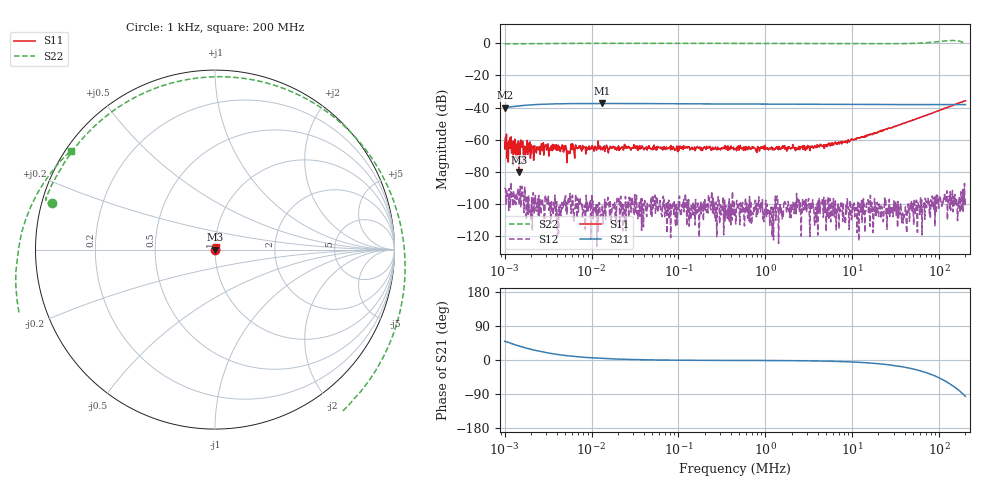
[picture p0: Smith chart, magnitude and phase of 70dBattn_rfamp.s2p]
! ListType=Log
# MHZ S RI R 50
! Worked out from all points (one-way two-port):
!   1000 points, 1 kHz to 200 MHz, reference 50 ohm
!   highest |S21| = -37.45 dB at 13.17 kHz (marker M1); lowest = -40.2 dB at 1.012 kHz (marker M2)
!   lowest |S11| = -80.2 dB at 1.46 kHz (marker M3), VSWR 1.00, Z = 50 - j0.0007 ohm
!   |S11| at or under -10 dB: start of sweep to end of sweep
!   |S22| runs from -0.5 to 1.7 dB; largest |S21 - S12| = 0.013
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0.001  -0.000821 -0.000106  0.00641 0.00746  -1.15e-05 -2.99e-05  -0.9089 0.26
0.0010123  -0.000228 -0.000457  0.00649 0.00738  1.21e-05 -2.87e-05  -0.9095 0.2603
0.0014605  -9.75e-05 -7e-06  0.00893 0.00682  9e-07 -1.8e-05  -0.9181 0.2574
0.0029666  -0.00071 -7.72e-05  0.012 0.00429  1.31e-05 -6.5e-06  -0.934 0.2623
0.0048363  -0.000639 -9.83e-05  0.0129 0.00281  3e-07 -9.4e-06  -0.9399 0.2698
0.0053985  -0.000401 -2e-07  0.013 0.00251  -1.31e-05 -7.3e-06  -0.9408 0.2713
0.0076941  -0.000443 -2.19e-05  0.0132 0.00176  -2.1e-06 8.4e-06  -0.9422 0.2759
0.0131716  -0.000509 4.12e-05  0.0134 0.000986  -4.5e-06 1e-06  -0.9427 0.2807
0.0584804  -0.000579 2.02e-05  0.0132 4.4e-06  1.1e-06 -7.5e-06  -0.9406 0.2882
0.4499541  -0.0005 6.49e-05  0.0128 -0.000269  1.8e-06 7.1e-06  -0.9349 0.303
3.419952  -0.000476 0.000338  0.0126 -0.000498  -1.8e-06 -7.2e-06  -0.8867 0.4028
12.03851  -0.000374 0.00108  0.0124 -0.00135  -7.5e-06 -3e-07  -0.7122 0.6466
26.31347  -0.000154 0.00226  0.0121 -0.00273  3.6e-06 -3.5e-06  -0.3118 0.9064
50.9003  0.000351 0.00418  0.0113 -0.00506  -1e-07 -2.3e-06  0.4925 0.8486
64.99008  0.000755 0.00527  0.0107 -0.00632  6e-06 -3.9e-06  0.8567 0.5339
81.97236  0.00129 0.00653  0.00972 -0.00776  5.3e-06 -7.1e-06  1.057 -0.0223
103.3922  0.00207 0.00819  0.00818 -0.00939  -9.6e-06 -1.12e-05  0.8402 -0.7545
128.8255  0.0032 0.01  0.00602 -0.0109  -1.25e-05 -1.01e-05  0.0311 -1.195
145.5678  0.00374 0.0113  0.00441 -0.0116  5.8e-06 -1.22e-05  -0.5687 -1.06
164.4859  0.00462 0.0129  0.00253 -0.0122  4.6e-06 -3.3e-06  -1.028 -0.5582
179.1732  0.00531 0.0137  0.000921 -0.0125  -1.87e-05 -8.8e-06  -1.102 -0.0581
200  0.00623 0.015  -0.00128 -0.0123  -1.29e-05 -6.6e-06  -0.8026 0.5506
